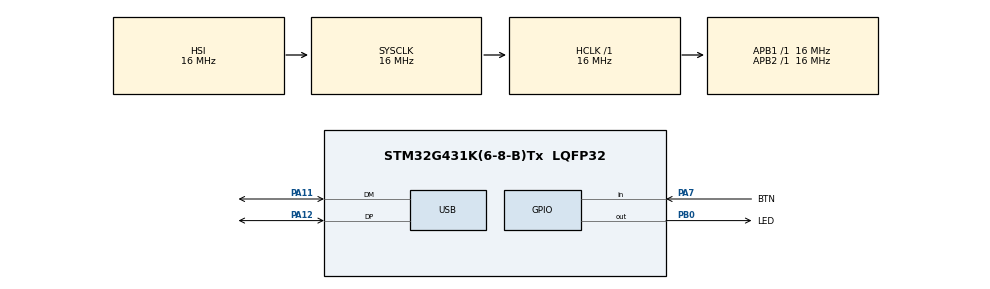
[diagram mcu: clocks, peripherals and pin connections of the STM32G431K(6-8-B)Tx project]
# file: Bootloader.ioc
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Mcu.Family=STM32G4
Mcu.Name=STM32G431K(6-8-B)Tx
Mcu.Package=LQFP32
NVIC.PriorityGroup=NVIC_PRIORITYGROUP_4
NVIC.USB_LP_IRQn=true\:0\:0\:false\:false\:true\:false\:true
PA11.Mode=Device
PA11.Signal=USB_DM
PA12.Mode=Device
PA12.Signal=USB_DP
PA13.Mode=Serial_Wire
PA13.Signal=SYS_JTMS-SWDIO
PA14.Mode=Serial_Wire
PA14.Signal=SYS_JTCK-SWCLK
PA7.GPIO_Label=BTN
PA7.GPIO_PuPd=GPIO_PULLUP
PA7.Signal=GPIO_Input
PB0.GPIO_Label=LED
PB0.Signal=GPIO_Output
ProjectManager.HeapSize=0x200
ProjectManager.StackSize=0x400
ProjectManager.TargetToolchain=MDK-ARM V5.27
RCC.AHBFreq_Value=16000000
RCC.APB1Freq_Value=16000000
RCC.APB1TimFreq_Value=16000000
RCC.APB2Freq_Value=16000000
RCC.APB2TimFreq_Value=16000000
RCC.CortexFreq_Value=16000000
RCC.EXTERNAL_CLOCK_VALUE=12288000
RCC.HCLKFreq_Value=16000000
RCC.HSE_VALUE=8000000
RCC.HSI48_VALUE=48000000
RCC.HSI_VALUE=16000000
RCC.LSE_VALUE=32768
RCC.PLLM=RCC_PLLM_DIV2
RCC.PLLN=12
RCC.SYSCLKFreq_VALUE=16000000
RCC.USBFreq_Value=48000000
RCC.VCOOutputFreq_Value=96000000
USB_DEVICE.CLASS_NAME_FS=MSC
USB_DEVICE.PID_MSC_FS=23314
USB_DEVICE.VirtualMode=Msc
USB_DEVICE.VirtualModeFS=Msc_FS
VP_RTC_VS_RTC_Activate.Mode=RTC_Enabled
VP_SYS_VS_DBSignals.Mode=DisableDeadBatterySignals
VP_USB_DEVICE_VS_USB_DEVICE_MSC_FS.Mode=MSC_FS
board=custom

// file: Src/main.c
/* USER CODE BEGIN Header */
/**
  ******************************************************************************
  * @file           : main.c
  * @brief          : Main program body
  ******************************************************************************
  * @attention
  *
  * <h2><center>&copy; Copyright (c) 2020 STMicroelectronics.
  * All rights reserved.</center></h2>
  *
  * This software component is licensed by ST under Ultimate Liberty license
  * SLA0044, the "License"; You may not use this file except in compliance with
  * the License. You may obtain a copy of the License at:
  *                             www.st.com/SLA0044
  *
  ******************************************************************************
  */
/* USER CODE END Header */
#include "main.h"
#include "usb_device.h"

/* USER CODE BEGIN Includes */
#include <stdint.h>					//lingex
#include <stdbool.h>
#include "btldr_config.h"
#include "fat32.h"
/* USER CODE END Includes */

/* USER CODE BEGIN PTD */
typedef void (*pFunction)(void);

/* USER CODE END PTD */

RTC_HandleTypeDef hrtc;

void SystemClock_Config(void);
static void MX_GPIO_Init(void);
static void MX_RTC_Init(void);

/* USER CODE BEGIN 0 */
bool IsAppExist(void);
bool IsKeyPressed(void);

void RunApp(void);
/* USER CODE END 0 */

int main(void)
{

  /* MCU Configuration--------------------------------------------------------*/

  /* Reset of all peripherals, Initializes the Flash interface and the Systick. */
  HAL_Init();

  /* USER CODE BEGIN Init */
	while(!fat32_init())
	{
		//flash addr error
	}
  /* USER CODE END Init */

  /* Configure the system clock */
  SystemClock_Config();

  /* Initialize all configured peripherals */
  MX_GPIO_Init();
  MX_RTC_Init();
  MX_USB_Device_Init();
  /* USER CODE BEGIN 2 */
	if(!IsAppExist() || IsKeyPressed())
  {
		uint8_t keyState = 0;
		uint8_t count = 0;
		//upgrade mode
    MX_USB_Device_Init();
    while(1)
    {
			//long press key for 2S to exit upgrade
			//begin of long press check
			if (!IsKeyPressed() && keyState == 0)
			{
				keyState = 1;
			}
			if (IsKeyPressed() && keyState == 1)
			{
				count++;
				if(count == 10)
				{
					//keep LED lighting
					HAL_GPIO_WritePin(LED_GPIO_Port, LED_Pin, GPIO_PIN_SET);
					while(IsKeyPressed())
					{
					}
					HAL_Delay(20);
					//soft reset
					SCB->VTOR = (FLASH_BASE | 0x0000);
					NVIC_SystemReset();
				}
			}
			else
			{
				count = 0;
			}
			//end of long press check

			//blinking the LED
			HAL_GPIO_TogglePin(LED_GPIO_Port, LED_Pin);
			HAL_Delay(200);
    }
  }
  else
  {
    RunApp();
  }
  /* USER CODE END 2 */

  /* Infinite loop */
  while (1)
  {

  }
}

void SystemClock_Config(void)
{
  RCC_OscInitTypeDef RCC_OscInitStruct = {0};
  RCC_ClkInitTypeDef RCC_ClkInitStruct = {0};
  RCC_PeriphCLKInitTypeDef PeriphClkInit = {0};

  /** Configure the main internal regulator output voltage
  */
  HAL_PWREx_ControlVoltageScaling(PWR_REGULATOR_VOLTAGE_SCALE1);
  /** Initializes the RCC Oscillators according to the specified parameters
  * in the RCC_OscInitTypeDef structure.
  */
  RCC_OscInitStruct.OscillatorType = RCC_OSCILLATORTYPE_HSI|RCC_OSCILLATORTYPE_LSI;
  RCC_OscInitStruct.HSIState = RCC_HSI_ON;
  RCC_OscInitStruct.HSICalibrationValue = RCC_HSICALIBRATION_DEFAULT;
  RCC_OscInitStruct.LSIState = RCC_LSI_ON;
  RCC_OscInitStruct.PLL.PLLState = RCC_PLL_ON;
  RCC_OscInitStruct.PLL.PLLSource = RCC_PLLSOURCE_HSI;
  RCC_OscInitStruct.PLL.PLLM = RCC_PLLM_DIV2;
  RCC_OscInitStruct.PLL.PLLN = 12;
  RCC_OscInitStruct.PLL.PLLP = RCC_PLLP_DIV2;
  RCC_OscInitStruct.PLL.PLLQ = RCC_PLLQ_DIV2;
  RCC_OscInitStruct.PLL.PLLR = RCC_PLLR_DIV2;
  if (HAL_RCC_OscConfig(&RCC_OscInitStruct) != HAL_OK)
  {
    Error_Handler();
  }
  /** Initializes the CPU, AHB and APB buses clocks
  */
  RCC_ClkInitStruct.ClockType = RCC_CLOCKTYPE_HCLK|RCC_CLOCKTYPE_SYSCLK
                              |RCC_CLOCKTYPE_PCLK1|RCC_CLOCKTYPE_PCLK2;
  RCC_ClkInitStruct.SYSCLKSource = RCC_SYSCLKSOURCE_HSI;
  RCC_ClkInitStruct.AHBCLKDivider = RCC_SYSCLK_DIV1;
  RCC_ClkInitStruct.APB1CLKDivider = RCC_HCLK_DIV1;
  RCC_ClkInitStruct.APB2CLKDivider = RCC_HCLK_DIV1;

  if (HAL_RCC_ClockConfig(&RCC_ClkInitStruct, FLASH_LATENCY_0) != HAL_OK)
  {
    Error_Handler();
  }
  /** Initializes the peripherals clocks
  */
  PeriphClkInit.PeriphClockSelection = RCC_PERIPHCLK_RTC|RCC_PERIPHCLK_USB;
  PeriphClkInit.UsbClockSelection = RCC_USBCLKSOURCE_PLL;
  PeriphClkInit.RTCClockSelection = RCC_RTCCLKSOURCE_LSI;

  if (HAL_RCCEx_PeriphCLKConfig(&PeriphClkInit) != HAL_OK)
  {
    Error_Handler();
  }
}

static void MX_RTC_Init(void)
{

  /** Initialize RTC Only
  */
  hrtc.Instance = RTC;
  hrtc.Init.HourFormat = RTC_HOURFORMAT_24;
  hrtc.Init.AsynchPrediv = 127;
  hrtc.Init.SynchPrediv = 255;
  hrtc.Init.OutPut = RTC_OUTPUT_DISABLE;
  hrtc.Init.OutPutRemap = RTC_OUTPUT_REMAP_NONE;
  hrtc.Init.OutPutPolarity = RTC_OUTPUT_POLARITY_HIGH;
  hrtc.Init.OutPutType = RTC_OUTPUT_TYPE_OPENDRAIN;
  hrtc.Init.OutPutPullUp = RTC_OUTPUT_PULLUP_NONE;
  if (HAL_RTC_Init(&hrtc) != HAL_OK)
  {
    Error_Handler();
  }

}

static void MX_GPIO_Init(void)
{
  GPIO_InitTypeDef GPIO_InitStruct = {0};

  /* GPIO Ports Clock Enable */
  __HAL_RCC_GPIOA_CLK_ENABLE();
  __HAL_RCC_GPIOB_CLK_ENABLE();

  /*Configure GPIO pin Output Level */
  HAL_GPIO_WritePin(LED_GPIO_Port, LED_Pin, GPIO_PIN_RESET);

  /*Configure GPIO pin : BTN_Pin */
  GPIO_InitStruct.Pin = BTN_Pin;
  GPIO_InitStruct.Mode = GPIO_MODE_INPUT;
  GPIO_InitStruct.Pull = GPIO_PULLUP;
  HAL_GPIO_Init(BTN_GPIO_Port, &GPIO_InitStruct);

  /*Configure GPIO pin : LED_Pin */
  GPIO_InitStruct.Pin = LED_Pin;
  GPIO_InitStruct.Mode = GPIO_MODE_OUTPUT_PP;
  GPIO_InitStruct.Pull = GPIO_NOPULL;
  GPIO_InitStruct.Speed = GPIO_SPEED_FREQ_LOW;
  HAL_GPIO_Init(LED_GPIO_Port, &GPIO_InitStruct);

}

/* USER CODE BEGIN 4 */
bool IsAppExist(void)
{
  uint32_t *mem = (uint32_t*)APP_ADDR;

  if ((mem[0] == 0x00000000 || mem[0] == 0xFFFFFFFF)
      &&(mem[1] == 0x00000000 || mem[1] == 0xFFFFFFFF)
      &&(mem[2] == 0x00000000 || mem[2] == 0xFFFFFFFF)
      &&(mem[3] == 0x00000000 || mem[3] == 0xFFFFFFFF))
  {
    return false;
  }
  else
  {
    return true;
  }
}

void RunApp(void)
{
  /* Function pointer to the address of the user application. */

	uint32_t appStack;
	pFunction appEntry;

	//__disable_irq();		//won't work when this execute
  //HAL_NVIC_ClearPendingIRQ(SysTick_IRQn);

	// get the application stack pointer (1st entry in the app vector table)
	appStack = (uint32_t)*((__IO uint32_t*)APP_ADDR);

	// Get the app entry point (2nd entry in the app vector table
	appEntry = (pFunction)*(__IO uint32_t*)(APP_ADDR + 4);

	HAL_RCC_DeInit();
	HAL_DeInit();

	SysTick->CTRL = 0;
	SysTick->LOAD = 0;
	SysTick->VAL  = 0;

	// Reconfigure vector table offset to match the app location
	SCB->VTOR = APP_ADDR;
	__set_MSP(appStack); // Set app stack pointer
	appEntry(); // Start the app

	while (1); // never reached
}

bool IsKeyPressed(void)
{
  return (HAL_GPIO_ReadPin(BTN_GPIO_Port, BTN_Pin) == GPIO_PIN_RESET);
}
/* USER CODE END 4 */

void Error_Handler(void)
{
}

/************************ (C) COPYRIGHT STMicroelectronics *****END OF FILE****/
